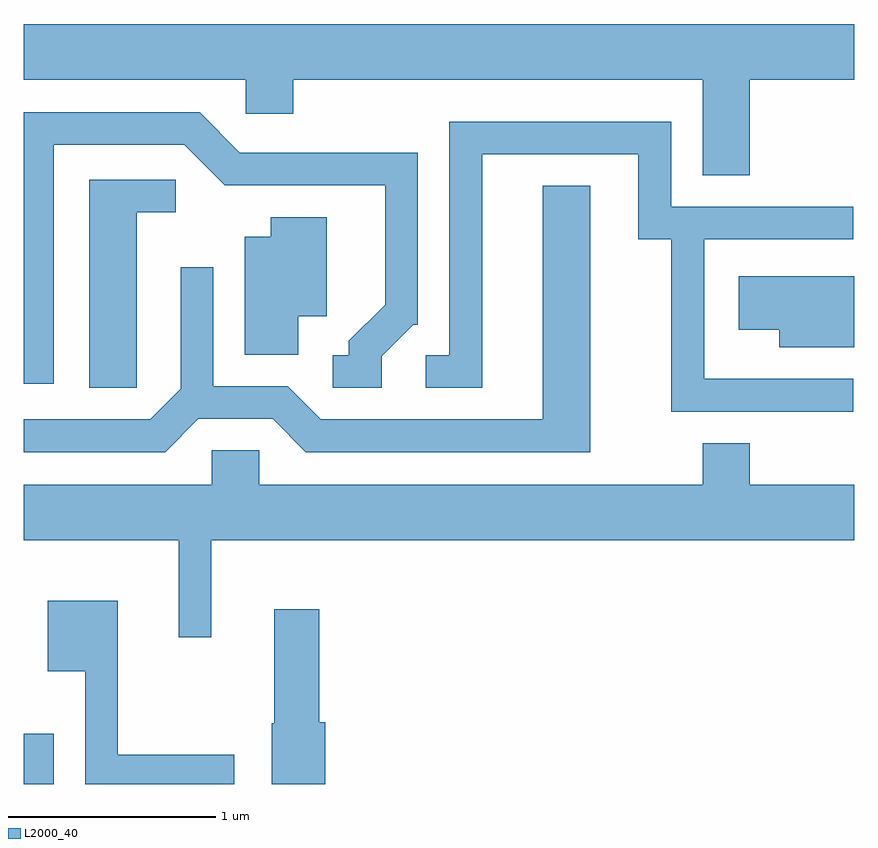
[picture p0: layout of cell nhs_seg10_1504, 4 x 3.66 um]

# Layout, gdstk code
import gdstk
lib = gdstk.Library(unit=1e-6, precision=1e-09)
def R(c, l, rs):  # rectangles x0, y0, x1, y1
    for r in rs: c.add(gdstk.rectangle(r[:2], r[2:], *l))
def P(c, l, *ps):  # polygons
    for p in ps: c.add(gdstk.Polygon(p, *l))
L2000_40 = (2000, 40)

nhs_seg10_1504 = lib.new_cell('nhs_seg10_1504')
R(nhs_seg10_1504, L2000_40, [(229.611,2110.522,229.754,2110.763)])
P(nhs_seg10_1504, L2000_40, [(233.109,2113.916),(233.611,2113.916),(233.611,2114.184),(229.611,2114.184),(229.611,2113.916),(230.681,2113.916),(230.681,2113.751),(230.909,2113.751),(230.909,2113.916),(232.881,2113.916),(232.881,2113.456),(233.109,2113.456)],
  [(231.334,2112.584),(231.487,2112.736),(231.509,2112.736),(231.509,2113.564),(230.652,2113.564),(230.457,2113.759),(229.611,2113.759),(229.611,2112.451),(229.754,2112.451),(229.754,2113.601),(230.384,2113.601),(230.579,2113.406),(231.351,2113.406),(231.351,2112.832),(231.176,2112.657),(231.176,2112.589),(231.098,2112.589),(231.098,2112.431),(231.334,2112.431)],
  [(233.608,2112.474),(232.889,2112.474),(232.889,2113.146),(233.608,2113.146),(233.608,2113.304),(232.729,2113.304),(232.729,2113.714),(231.661,2113.714),(231.661,2112.589),(231.548,2112.589),(231.548,2112.431),(231.819,2112.431),(231.819,2113.556),(232.571,2113.556),(232.571,2113.146),(232.731,2113.146),(232.731,2112.316),(233.608,2112.316)],
  [(230.154,2113.276),(230.343,2113.276),(230.343,2113.434),(229.926,2113.434),(229.926,2112.431),(230.154,2112.431)],
  [(230.452,2112.281),(230.809,2112.281),(230.969,2112.121),(232.339,2112.121),(232.339,2113.404),(232.111,2113.404),(232.111,2112.279),(231.042,2112.279),(230.882,2112.439),(230.524,2112.439),(230.524,2113.013),(230.366,2113.013),(230.366,2112.427),(230.219,2112.279),(229.611,2112.279),(229.611,2112.121),(230.292,2112.121)],
  [(230.934,2112.776),(231.069,2112.776),(231.069,2113.254),(230.801,2113.254),(230.801,2113.159),(230.676,2113.159),(230.676,2112.591),(230.934,2112.591)],
  [(233.611,2112.969),(233.056,2112.969),(233.056,2112.711),(233.251,2112.711),(233.251,2112.626),(233.611,2112.626)],
  [(230.514,2111.696),(233.611,2111.696),(233.611,2111.964),(233.109,2111.964),(233.109,2112.164),(232.881,2112.164),(232.881,2111.964),(230.744,2111.964),(230.744,2112.129),(230.516,2112.129),(230.516,2111.964),(229.611,2111.964),(229.611,2111.696),(230.356,2111.696),(230.356,2111.228),(230.514,2111.228)],
  [(230.624,2110.664),(230.064,2110.664),(230.064,2111.404),(229.726,2111.404),(229.726,2111.066),(229.906,2111.066),(229.906,2110.522),(230.624,2110.522)],
  [(231.064,2110.819),(231.034,2110.819),(231.034,2111.364),(230.816,2111.364),(230.816,2110.815),(230.806,2110.815),(230.806,2110.522),(231.064,2110.522)])

lib.write_gds('nhs_seg10_1504.gds')
